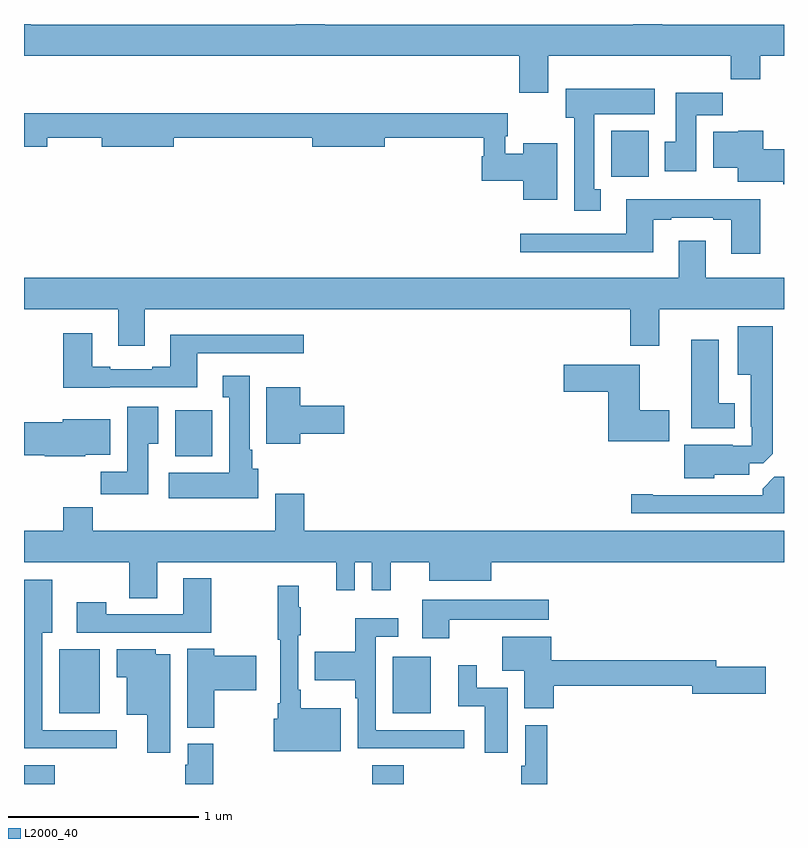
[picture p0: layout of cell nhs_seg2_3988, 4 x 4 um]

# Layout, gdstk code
import gdstk
lib = gdstk.Library(unit=1e-6, precision=1e-09)
def R(c, l, rs):  # rectangles x0, y0, x1, y1
    for r in rs: c.add(gdstk.rectangle(r[:2], r[2:], *l))
def P(c, l, *ps):  # polygons
    for p in ps: c.add(gdstk.Polygon(p, *l))
L2000_40 = (2000, 40)

nhs_seg2_3988 = lib.new_cell('nhs_seg2_3988')
R(nhs_seg2_3988, L2000_40, [(323.002,647.8,323.162,647.899), (324.833,647.8,324.998,647.899), (323.186,648.173,323.398,648.508), (324.941,648.173,325.141,648.469), (323.795,649.526,323.992,649.768), (326.09,650.996,326.287,651.238)])
P(nhs_seg2_3988, L2000_40, [(325.759,651.632),(326.719,651.632),(326.719,651.508),(326.876,651.508),(326.876,651.632),(327,651.632),(327,651.796),(326.36,651.796),(326.36,651.8),(326.207,651.8),(326.207,651.796),(324.584,651.796),(324.584,651.8),(324.431,651.8),(324.431,651.796),(323.035,651.796),(323.035,651.8),(323,651.8),(323,651.632),(325.607,651.632),(325.607,651.438),(325.759,651.438)],
  [(326.035,650.93),(326.002,650.93),(326.002,651.326),(326.32,651.326),(326.32,651.46),(325.85,651.46),(325.85,651.306),(325.895,651.306),(325.895,650.817),(326.035,650.817)],
  [(326.539,651.32),(326.678,651.32),(326.678,651.439),(326.429,651.439),(326.429,651.18),(326.372,651.18),(326.372,651.024),(326.539,651.024)],
  [(325.807,651.172),(325.628,651.172),(325.628,651.117),(325.533,651.117),(325.533,651.21),(325.546,651.21),(325.546,651.331),(323,651.331),(323,651.155),(323.122,651.155),(323.122,651.202),(323.408,651.202),(323.408,651.155),(323.788,651.155),(323.788,651.202),(324.518,651.202),(324.518,651.155),(324.898,651.155),(324.898,651.202),(325.421,651.202),(325.421,651.105),(325.409,651.105),(325.409,650.975),(325.628,650.975),(325.628,650.876),(325.807,650.876)],
  [(327,651.14),(326.891,651.14),(326.891,651.238),(326.76,651.238),(326.76,651.232),(326.627,651.232),(326.627,651.044),(326.756,651.044),(326.756,650.969),(326.996,650.969),(326.996,650.957),(327,650.957)],
  [(326.876,650.878),(326.171,650.878),(326.171,650.697),(325.611,650.697),(325.611,650.6),(326.311,650.6),(326.311,650.769),(326.407,650.769),(326.407,650.781),(326.627,650.781),(326.627,650.769),(326.723,650.769),(326.723,650.592),(326.876,650.592)],
  [(323.635,650.3),(326.192,650.3),(326.192,650.106),(326.344,650.106),(326.344,650.3),(327,650.3),(327,650.464),(326.587,650.464),(326.587,650.659),(326.447,650.659),(326.447,650.464),(323,650.464),(323,650.3),(323.495,650.3),(323.495,650.106),(323.635,650.106)],
  [(326.634,649.427),(326.818,649.427),(326.818,649.488),(326.892,649.488),(326.941,649.537),(326.941,650.209),(326.756,650.209),(326.756,649.955),(326.825,649.955),(326.825,649.681),(326.829,649.681),(326.829,649.581),(326.729,649.581),(326.729,649.585),(326.474,649.585),(326.474,649.409),(326.634,649.409)],
  [(323.451,649.887),(323.911,649.887),(323.911,650.067),(324.472,650.067),(324.472,650.164),(323.771,650.164),(323.771,649.996),(323.675,649.996),(323.675,649.983),(323.455,649.983),(323.455,649.996),(323.359,649.996),(323.359,650.173),(323.207,650.173),(323.207,649.886),(323.451,649.886)],
  [(326.74,649.804),(326.656,649.804),(326.656,650.137),(326.513,650.137),(326.513,649.673),(326.74,649.673)],
  [(326.395,649.767),(326.242,649.767),(326.242,650.007),(325.842,650.007),(325.842,649.865),(326.075,649.865),(326.075,649.604),(326.395,649.604)],
  [(324.232,649.458),(324.202,649.458),(324.202,649.558),(324.187,649.558),(324.187,649.948),(324.047,649.948),(324.047,649.835),(324.08,649.835),(324.08,649.438),(323.763,649.438),(323.763,649.304),(324.232,649.304)],
  [(324.454,649.643),(324.685,649.643),(324.685,649.79),(324.454,649.79),(324.454,649.888),(324.275,649.888),(324.275,649.592),(324.454,649.592)],
  [(323.653,649.592),(323.707,649.592),(323.707,649.786),(323.543,649.786),(323.543,649.444),(323.404,649.444),(323.404,649.326),(323.653,649.326)],
  [(323.322,649.532),(323.455,649.532),(323.455,649.72),(323.204,649.72),(323.204,649.703),(323,649.703),(323,649.531),(323.108,649.531),(323.108,649.526),(323.322,649.526)],
  [(327,649.416),(326.949,649.416),(326.888,649.354),(326.888,649.32),(326.308,649.32),(326.308,649.325),(326.196,649.325),(326.196,649.224),(327,649.224)],
  [(323.701,648.968),(324.644,648.968),(324.644,648.819),(324.741,648.819),(324.741,648.968),(324.831,648.968),(324.831,648.819),(324.929,648.819),(324.929,648.968),(325.133,648.968),(325.133,648.869),(325.459,648.869),(325.459,648.968),(327,648.968),(327,649.132),(324.476,649.132),(324.476,649.327),(324.323,649.327),(324.323,649.132),(323.363,649.132),(323.363,649.256),(323.207,649.256),(323.207,649.132),(323,649.132),(323,648.968),(323.554,648.968),(323.554,648.778),(323.701,648.778)],
  [(323.985,648.883),(323.837,648.883),(323.837,648.693),(323.433,648.693),(323.433,648.757),(323.277,648.757),(323.277,648.597),(323.985,648.597)],
  [(323.488,648.084),(323.095,648.084),(323.095,648.596),(323.149,648.596),(323.149,648.874),(323,648.874),(323,647.987),(323.488,647.987)],
  [(324.667,648.199),(324.457,648.199),(324.457,648.295),(324.444,648.295),(324.444,648.583),(324.457,648.583),(324.457,648.731),(324.446,648.731),(324.446,648.844),(324.336,648.844),(324.336,648.559),(324.348,648.559),(324.348,648.226),(324.336,648.226),(324.336,648.143),(324.314,648.143),(324.314,647.972),(324.667,647.972)],
  [(325.237,648.665),(325.762,648.665),(325.762,648.769),(325.097,648.769),(325.097,648.567),(325.237,648.567)],
  [(325.318,648.084),(324.852,648.084),(324.852,648.576),(324.97,648.576),(324.97,648.673),(324.744,648.673),(324.744,648.495),(324.529,648.495),(324.529,648.347),(324.744,648.347),(324.744,648.251),(324.756,648.251),(324.756,647.988),(325.081,647.988),(325.081,647.987),(325.318,647.987)],
  [(325.787,648.316),(326.516,648.316),(326.516,648.274),(326.905,648.274),(326.905,648.416),(326.644,648.416),(326.644,648.452),(325.774,648.452),(325.774,648.574),(325.517,648.574),(325.517,648.395),(325.634,648.395),(325.634,648.198),(325.787,648.198)],
  [(324,648.293),(324.223,648.293),(324.223,648.476),(324,648.476),(324,648.512),(323.858,648.512),(323.858,648.097),(324,648.097)],
  [(323.77,648.484),(323.694,648.484),(323.694,648.508),(323.489,648.508),(323.489,648.362),(323.54,648.362),(323.54,648.164),(323.648,648.164),(323.648,647.964),(323.77,647.964)],
  [(325.546,648.306),(325.384,648.306),(325.384,648.424),(325.286,648.424),(325.286,648.21),(325.424,648.21),(325.424,647.964),(325.546,647.964)],
  [(325.754,648.109),(325.638,648.109),(325.638,647.896),(325.618,647.896),(325.618,647.8),(325.754,647.8)],
  [(323.997,648.012),(323.861,648.012),(323.861,647.901),(323.849,647.901),(323.849,647.8),(323.997,647.8)])

lib.write_gds('nhs_seg2_3988.gds')
